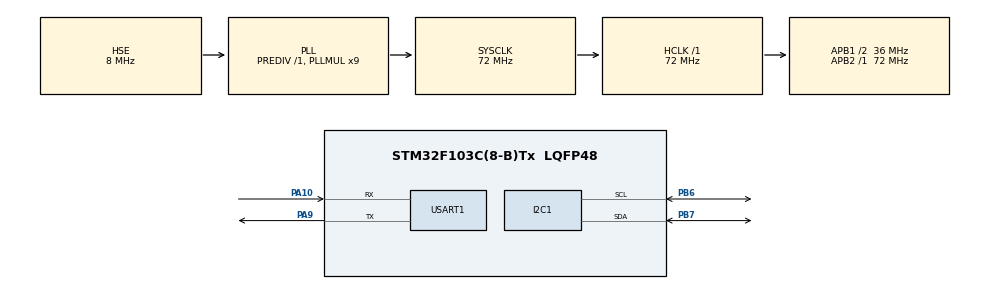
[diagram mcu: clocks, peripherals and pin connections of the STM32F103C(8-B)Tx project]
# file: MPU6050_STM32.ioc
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Mcu.Family=STM32F1
Mcu.Name=STM32F103C(8-B)Tx
Mcu.Package=LQFP48
NVIC.PriorityGroup=NVIC_PRIORITYGROUP_4
PA10.Mode=Asynchronous
PA10.Signal=USART1_RX
PA13.Mode=Serial_Wire
PA13.Signal=SYS_JTMS-SWDIO
PA14.Mode=Serial_Wire
PA14.Signal=SYS_JTCK-SWCLK
PA9.Mode=Asynchronous
PA9.Signal=USART1_TX
PB6.Mode=I2C
PB6.Signal=I2C1_SCL
PB7.Mode=I2C
PB7.Signal=I2C1_SDA
PD0-OSC_IN.Mode=HSE-External-Oscillator
PD0-OSC_IN.Signal=RCC_OSC_IN
PD1-OSC_OUT.Mode=HSE-External-Oscillator
PD1-OSC_OUT.Signal=RCC_OSC_OUT
ProjectManager.HeapSize=0x200
ProjectManager.StackSize=0x400
ProjectManager.TargetToolchain=Makefile
RCC.AHBFreq_Value=72000000
RCC.APB1CLKDivider=RCC_HCLK_DIV2
RCC.APB1Freq_Value=36000000
RCC.APB1TimFreq_Value=72000000
RCC.APB2Freq_Value=72000000
RCC.APB2TimFreq_Value=72000000
RCC.HCLKFreq_Value=72000000
RCC.PLLMUL=RCC_PLL_MUL9
RCC.PLLSourceVirtual=RCC_PLLSOURCE_HSE
RCC.SYSCLKFreq_VALUE=72000000
RCC.SYSCLKSource=RCC_SYSCLKSOURCE_PLLCLK
RCC.USBFreq_Value=72000000
USART1.VirtualMode=VM_ASYNC
board=custom

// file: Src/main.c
/* USER CODE BEGIN Header */
/**
 ******************************************************************************
 * @file           : main.c
 * @brief          : STM32F103C8T6 - MPU6050 DMP MotionApps 6.12
 ******************************************************************************
 */
/* USER CODE END Header */

#include "main.h"
#include "gpio.h"
#include "i2c.h"
#include "usart.h"
#include "mpu6050_port.h"

#include <stdio.h>
#include <string.h>
#include <stdint.h>

void SystemClock_Config(void);

/* USER CODE BEGIN PD */

#define RAD_TO_DEG 57.2957795f

#define UART_PRINT_INTERVAL 100U

/* USER CODE END PD */

/* USER CODE BEGIN PV */

// MPU6050 STATUS
volatile uint8_t mpu_init_status = 0xFF;
volatile uint8_t mpu_dmp_error = 0;
volatile uint8_t mpu_new_data = 0;

// ORIENTATION DATA (RADIANS)
volatile float mpu_yaw_rad = 0.0f;
volatile float mpu_pitch_rad = 0.0f;
volatile float mpu_roll_rad = 0.0f;

// ORIENTATION DATA (DEGREES)
volatile int32_t mpu_yaw_deg = 0;
volatile int32_t mpu_pitch_deg = 0;
volatile int32_t mpu_roll_deg = 0;

// TIMING
uint32_t uart_last_print_ms = 0;
uint32_t dmp_last_packet_ms = 0;

// DMP DIAGNOSTIC
volatile uint32_t dmp_packet_count = 0;
volatile uint8_t dmp_no_packet_warning = 0;

/* USER CODE END PV */

/* USER CODE BEGIN 0 */

// UART SEND STRING
void UART_SendString(const char *message)
{
    HAL_UART_Transmit(
        &huart1,
        (uint8_t *)message,
        strlen(message),
        1000
    );
}

// PRINT INITIALIZATION STATUS
static void PrintInitStatus(void)
{
    char message[120];

    snprintf(
        message,
        sizeof(message),
        "MPU INIT STATUS: %u\r\n",
        (unsigned)mpu_init_status
    );

    UART_SendString(message);

    snprintf(
        message,
        sizeof(message),
        "DMP ERROR CODE: %u\r\n",
        (unsigned)mpu_dmp_error
    );

    UART_SendString(message);
}

// PRINT ORIENTATION
static void PrintOrientation(float yaw, float pitch, float roll)
{
    char message[150];
    int32_t yaw_deg = (int32_t)(yaw * RAD_TO_DEG);
    int32_t pitch_deg = (int32_t)(pitch * RAD_TO_DEG);
    int32_t roll_deg = (int32_t)(roll * RAD_TO_DEG);

    snprintf(
        message,
        sizeof(message),
        "YAW: %ld deg | PITCH: %ld deg | ROLL: %ld deg\r\n",
        (long)yaw_deg,
        (long)pitch_deg,
        (long)roll_deg
    );

    UART_SendString(message);
}

// PRINT INITIALIZATION ERROR
static void PrintInitError(void)
{
    switch (mpu_init_status)
    {
        case 1:
            UART_SendString(
                "ERROR: MPU6050 CONNECTION FAILED!\r\n"
            );
            UART_SendString(
                "Check WHO_AM_I / testConnection().\r\n"
            );

            break;

        case 2:
            UART_SendString(
                "ERROR: DMP INITIALIZATION FAILED!\r\n"
            );
            UART_SendString(
                "Check DMP firmware upload and I2C backend.\r\n"
            );
            break;

        case 3:
            UART_SendString(
                "ERROR: DMP ENABLE FAILED!\r\n"
            );
            break;

        default:
            UART_SendString(
                "ERROR: UNKNOWN INITIALIZATION STATUS!\r\n"
            );
            break;
    }
}

/* USER CODE END 0 */

/**
 * @brief Main program
 */
int main(void)
{
    /* Initialize HAL */
    HAL_Init();

    /* Configure System Clock */
    SystemClock_Config();

    /* Initialize peripherals */
    MX_GPIO_Init();

    MX_I2C1_Init();

    MX_USART1_UART_Init();

    /* USER CODE BEGIN 2 */

    // 1. START MESSAGE
    HAL_Delay(100);
    UART_SendString("\r\n");
    UART_SendString("========================================\r\n");
    UART_SendString(" STM32F103C8T6 MPU6050 DMP TEST\r\n");
    UART_SendString(" MotionApps 6.12\r\n");
    UART_SendString("========================================\r\n");

    // 2. INITIALIZE MPU6050 AND DMP
    UART_SendString("\r\n");
    UART_SendString("Initializing MPU6050...\r\n");
    UART_SendString("Loading DMP firmware...\r\n");

    mpu_init_status = MPU6050_Port_Init();
    mpu_dmp_error = MPU6050_Port_DMPError();

    // 3. PRINT INITIALIZATION RESULT
    UART_SendString("\r\n");
    PrintInitStatus();

    if (mpu_init_status == 0U)
    {
        UART_SendString("\r\n");
        UART_SendString("DMP INITIALIZATION SUCCESS!\r\n");
        UART_SendString("DMP ENABLED!\r\n");
        UART_SendString("FIFO PACKET SIZE: 28 BYTES\r\n");
        UART_SendString("Waiting for DMP data...\r\n");

        dmp_last_packet_ms = HAL_GetTick();
        uart_last_print_ms = HAL_GetTick();
    }
    else
    {
        UART_SendString("\r\n");
        PrintInitError();
    }

    /* USER CODE END 2 */

    /* Infinite loop */
    while (1)
    {
        /* USER CODE BEGIN WHILE */

        //CHECK DMP INITIALIZATION
        if (mpu_init_status == 0U)
        {
            float yaw = 0.0f;
            float pitch = 0.0f;
            float roll = 0.0f;

            //READ DMP FIFO PACKET
            if (MPU6050_Port_ReadYPR(
                    &yaw,
                    &pitch,
                    &roll))
            {

                //SAVE ORIENTATION DATA
                mpu_yaw_rad = yaw;
                mpu_pitch_rad = pitch;
                mpu_roll_rad = roll;

                // Convert radians to degrees
                mpu_yaw_deg =
                    (int32_t)(yaw * RAD_TO_DEG);
                mpu_pitch_deg =
                    (int32_t)(pitch * RAD_TO_DEG);
                mpu_roll_deg =
                    (int32_t)(roll * RAD_TO_DEG);

                mpu_new_data = 1U;
                dmp_packet_count++;
                dmp_last_packet_ms = HAL_GetTick();
                dmp_no_packet_warning = 0U;

                //PRINT EVERY 100 ms
                if (
                    (HAL_GetTick() - uart_last_print_ms)
                    >= UART_PRINT_INTERVAL
                )
                {
                    PrintOrientation(
                        yaw,
                        pitch,
                        roll
                    );
                    uart_last_print_ms = HAL_GetTick();
                }
            }

            //CHECK FIFO PACKET TIMEOUT
            if (
                !dmp_no_packet_warning &&
                (HAL_GetTick() - dmp_last_packet_ms) >= 3000U
            )
            {
                UART_SendString(
                    "WARNING: NO NEW DMP FIFO PACKET!\r\n"
                );

                UART_SendString(
                    "DMP enabled, but data is not received.\r\n"
                );

                dmp_no_packet_warning = 1U;
            }
        }

        // WAIT BEFORE NEXT POLL
        HAL_Delay(2);

        /* USER CODE END WHILE */
    }
}

void SystemClock_Config(void)
{
    RCC_OscInitTypeDef RCC_OscInitStruct = {0};
    RCC_ClkInitTypeDef RCC_ClkInitStruct = {0};

    RCC_OscInitStruct.OscillatorType = RCC_OSCILLATORTYPE_HSE;
    RCC_OscInitStruct.HSEState = RCC_HSE_ON;
    RCC_OscInitStruct.HSEPredivValue = RCC_HSE_PREDIV_DIV1;
    RCC_OscInitStruct.HSIState = RCC_HSI_ON;
    RCC_OscInitStruct.PLL.PLLState = RCC_PLL_ON;
    RCC_OscInitStruct.PLL.PLLSource = RCC_PLLSOURCE_HSE;
    RCC_OscInitStruct.PLL.PLLMUL = RCC_PLL_MUL9;

    if (HAL_RCC_OscConfig(&RCC_OscInitStruct) != HAL_OK)
    {
        Error_Handler();
    }

    RCC_ClkInitStruct.ClockType =
        RCC_CLOCKTYPE_HCLK |
        RCC_CLOCKTYPE_SYSCLK |
        RCC_CLOCKTYPE_PCLK1 |
        RCC_CLOCKTYPE_PCLK2;

    RCC_ClkInitStruct.SYSCLKSource = RCC_SYSCLKSOURCE_PLLCLK;
    RCC_ClkInitStruct.AHBCLKDivider = RCC_SYSCLK_DIV1;
    RCC_ClkInitStruct.APB1CLKDivider = RCC_HCLK_DIV2;
    RCC_ClkInitStruct.APB2CLKDivider = RCC_HCLK_DIV1;

    if (
        HAL_RCC_ClockConfig(
            &RCC_ClkInitStruct,
            FLASH_LATENCY_2
        ) != HAL_OK
    )
    {
        Error_Handler();
    }
}

/**
 * @brief Error Handler
 */
void Error_Handler(void)
{
    __disable_irq();

    while (1)
    {
    }
}
